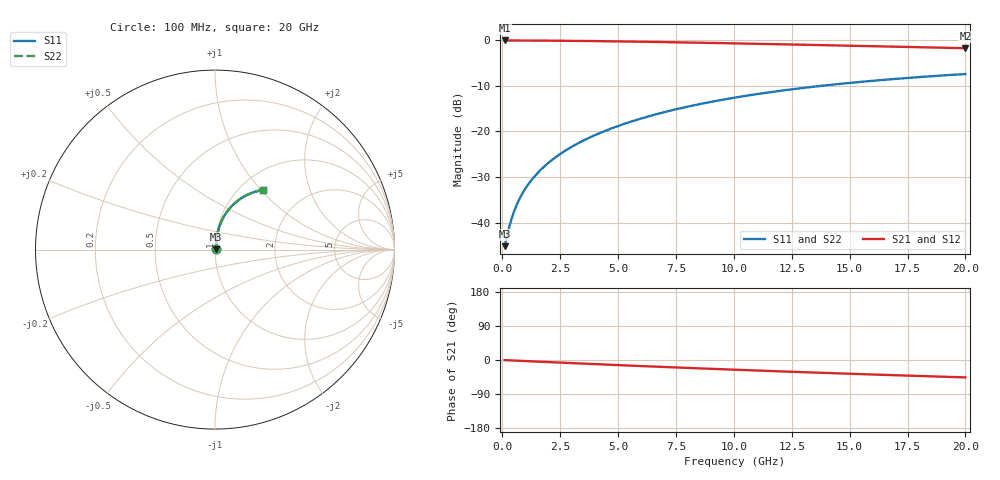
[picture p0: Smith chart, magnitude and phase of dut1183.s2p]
! Touchstone file exported from HFSS 2024.1.0
!  File:  C:/UserFiles/LocalFiles/RDL_TSV_Batchsim/temp_RDL_top_1183_1780049318.aedt
!  Generated:  06:10:45 PM May 29, 2026
!  Design:  RDL_top
!  Project:  temp_RDL_top_1183_1780049318
!  Setup:  Setup1
!  Solution:  Sweep
! Variables:
!  dtsv = 10.80580581um
!  hbump = 3um
!  htsv = 85.76um
!  ldown = 100um
!  lrdl = 616.46um
!  p = 40
!  p1 = 53.47um
!  rhole = 1um
!  t = 450um
!  tdown = 3.915915916um
!  trdl = 2.19um
!  wdown = 15.38538539um
!  wrdl = 21.43um
# GHz S MA R 50.000000
! Terminal data exported
! Port[1] = Box2_T1
! Port[2] = Box2_T2
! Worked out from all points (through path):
!   200 points, 100 MHz to 20 GHz, reference 50 ohm
!   highest |S21| = -0.04 dB at 100 MHz (marker M1); lowest = -1.7 dB at 20 GHz (marker M2)
!   group delay of S21, straight-line fit = 6.35 ps
!   lowest |S11| = -45.2 dB at 100 MHz (marker M3), VSWR 1.01, Z = 50.5 + j0.247 ohm
!   |S11| at or under -10 dB: start of sweep to 13.78 GHz
!   |S22| runs from -45.2 to -7.4 dB; largest |S21 - S12| = 2.7e-15
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0.1  0.005501 26.4  0.9951 -0.3  0.9951 -0.3  0.005501 26.4
! Gamma 0 0 0 0
! Port Impedance 50 0 50 0
0.3  0.008906 54.1  0.9947 -0.9  0.9947 -0.9  0.008906 54.1
0.4  0.01095 60.4  0.9945 -1.2  0.9945 -1.2  0.01095 60.4
0.5  0.01305 64.5  0.9942 -1.4  0.9942 -1.4  0.01305 64.5
0.6  0.01515 67.5  0.994 -1.7  0.994 -1.7  0.01515 67.5
0.7  0.01726 69.7  0.9937 -2.0  0.9937 -2.0  0.01726 69.7
0.9  0.0215 72.9  0.9932 -2.5  0.9932 -2.5  0.0215 72.9
1.2  0.0279 76.0  0.9924 -3.4  0.9924 -3.4  0.0279 75.9
1.4  0.03221 77.3  0.9918 -3.9  0.9918 -3.9  0.03221 77.3
1.7  0.03874 78.8  0.9908 -4.7  0.9908 -4.7  0.03874 78.8
2.2  0.04978 80.2  0.9889 -6.1  0.9889 -6.1  0.04978 80.2
2.8  0.06327 81.0  0.9861 -7.7  0.9861 -7.7  0.06326 80.9
3.5  0.07931 81.1  0.9822 -9.6  0.9822 -9.6  0.07929 81.1
4.2  0.09564 80.9  0.9776 -11.4  0.9776 -11.4  0.0956 80.8
5  0.1146 80.1  0.9717 -13.5  0.9717 -13.5  0.1145 80.1
6.8  0.1579 77.6  0.9564 -18.0  0.9564 -18.0  0.1578 77.5
8.4  0.1963 74.6  0.9411 -21.9  0.9411 -21.9  0.1961 74.6
10.1  0.2362 71.2  0.9239 -25.8  0.9239 -25.8  0.2359 71.1
11.7  0.2722 67.9  0.907 -29.3  0.907 -29.3  0.2719 67.8
13.4  0.3084 64.3  0.8888 -33.0  0.8888 -33.0  0.308 64.2
16.7  0.3718 57.6  0.8532 -39.7  0.8532 -39.7  0.3714 57.5
20  0.4259 51.4  0.8185 -45.9  0.8185 -45.9  0.4253 51.3
